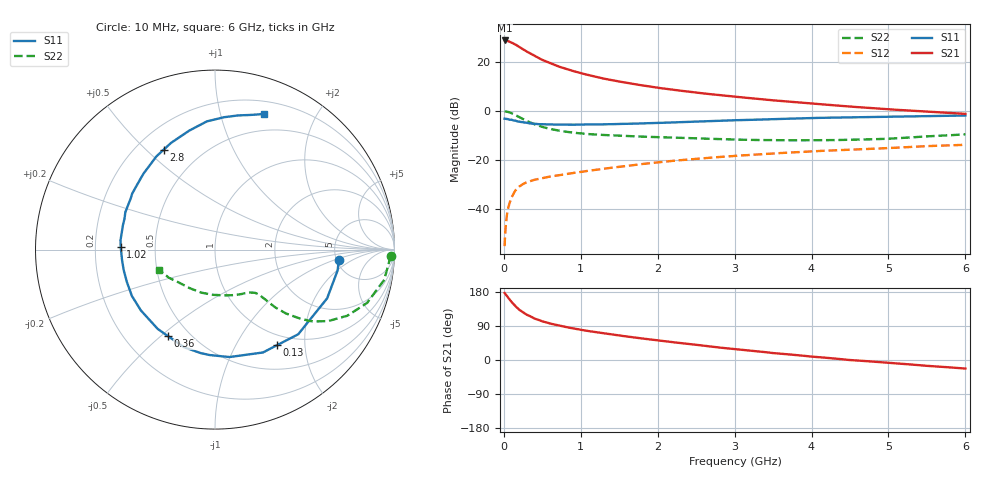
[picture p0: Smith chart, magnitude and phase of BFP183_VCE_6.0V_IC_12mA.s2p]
! Infineon Technologies  Discrete & RF Semiconductors
! BFP183
! VCE = 6.0 V,  IC =  12 mA
! Common Emitter S-Parameters:  Jan 2016
# GHz  S  MA  R  50
!  f  S11  S21  S12  S22
! GHz  MAG  ANG  MAG  ANG  MAG  ANG  MAG  ANG
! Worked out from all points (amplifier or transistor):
!   210 points, 10 MHz to 6 GHz, reference 50 ohm
!   highest |S21| = 28.8 dB at 10 MHz (marker M1)
!   |S21| within 3 dB of that: start of sweep to 219.6 MHz
!   unconditionally stable (mu >= 1): 1.145 GHz to 5.725 GHz
!   at 185 MHz: K = 0.27, MSG = 29.0 dB, |S12| = -31.5 dB
!   at 1.52 GHz: K = 1.09, MAG = 15.5 dB, |S12| = -22.8 dB
!   at 6 GHz: K = 0.95, MSG = 6.3 dB, |S12| = -13.9 dB
!   S11 on the Smith chart (normalised r, x): 10 MHz: 5.25, -1.12; 130 MHz: 0.84, -1.50; 360 MHz: 0.38, -0.53; 1.02 GHz: 0.31, +0.01; 2.8 GHz: 0.31, +0.57; 6 GHz: 0.32, +1.37
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0.01  0.6922 -4.6  27.65 176.9  0.0017 84.7  0.9808 -2.0
0.05  0.6812 -23.5  27.12 165.9  0.0093 81.1  0.958 -10.1
0.1  0.6614 -45.5  25.07 153.1  0.0169 68.2  0.8982 -19.3
0.13  0.635 -57.0  23.62 146.6  0.0208 63.5  0.8518 -23.5
0.15  0.6324 -65.0  22.84 141.9  0.0234 61.3  0.8236 -26.6
0.2  0.6041 -82.3  20.53 132.7  0.0282 56.0  0.7471 -32.2
0.26  0.582 -97.9  17.81 124.1  0.0324 51.8  0.6672 -36.7
0.3  0.5707 -107.6  16.34 119.3  0.0348 49.1  0.6204 -38.7
0.36  0.5486 -118.3  14.47 113.7  0.0372 46.8  0.5667 -40.6
0.4  0.5452 -125.8  13.32 109.2  0.0389 45.5  0.5313 -42.0
0.5  0.5342 -140.6  11.05 102.0  0.042 43.8  0.4687 -43.7
0.6  0.5302 -150.9  9.498 96.2  0.0454 43.7  0.4275 -44.4
0.8  0.5213 -167.4  7.305 87.1  0.0505 43.9  0.3757 -45.2
1.02  0.525 178.4  5.804 79.1  0.0567 44.6  0.3431 -46.1
1.28  0.5298 166.2  4.646 71.1  0.0647 45.2  0.3224 -48.2
1.5  0.5414 157.3  3.988 64.6  0.072 45.3  0.3106 -50.4
2.02  0.5678 138.6  2.947 51.4  0.089 44.2  0.2901 -58.2
2.8  0.6255 117.2  2.101 32.9  0.1137 39.9  0.2651 -74.5
3.1  0.6483 110.3  1.888 26.9  0.1226 38.0  0.2567 -81.9
4.1  0.7196 92.1  1.376 7.4  0.151 30.5  0.2511 -110.6
5.1  0.7621 79.0  1.054 -8.9  0.1763 24.0  0.2745 -138.8
6  0.8038 70.2  0.869 -22.6  0.2022 16.2  0.331 -160.0
